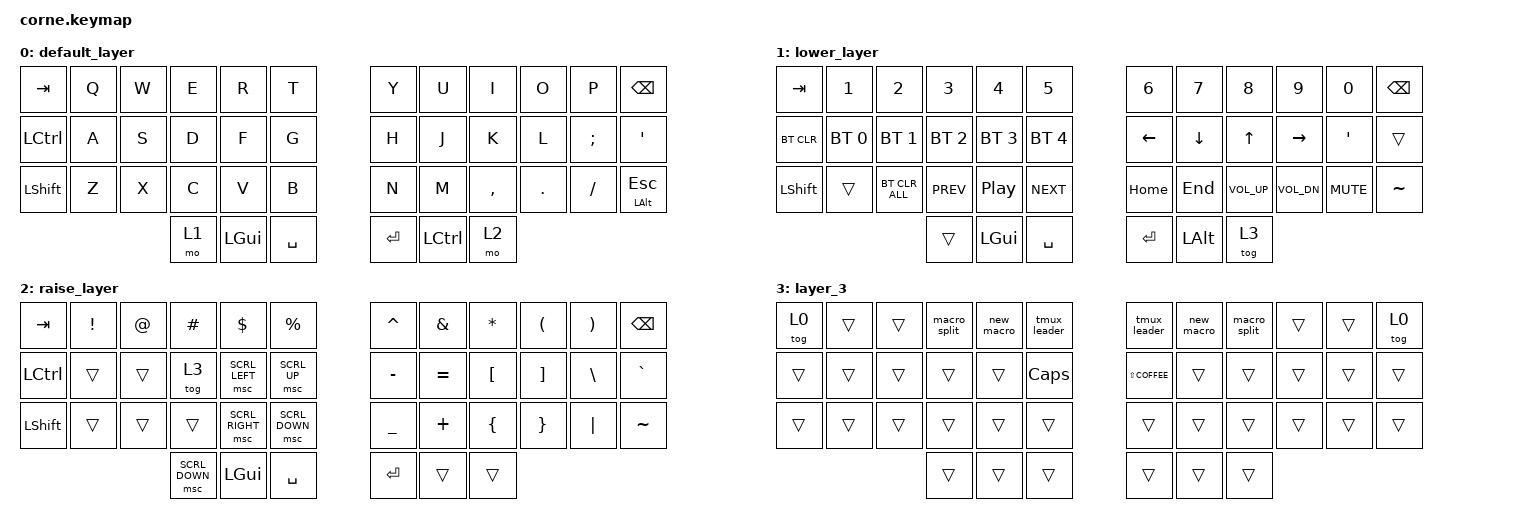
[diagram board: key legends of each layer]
/*
 * Copyright (c) 2020 The ZMK Contributors
 *
 * SPDX-License-Identifier: MIT
 */

#include <behaviors.dtsi>
#include <dt-bindings/zmk/bt.h>
#include <dt-bindings/zmk/keys.h>
#include <dt-bindings/zmk/pointing.h>

/ {
    macros {
        tmux_leader: tmux_new {
            compatible = "zmk,behavior-macro";
            #binding-cells = <0>;
            bindings = <&kp RCTRL &kp Q>;
            label = "TMUX_NEW";
        };

        new_macro: new_macro {
            compatible = "zmk,behavior-macro";
            #binding-cells = <0>;
            bindings = <&kp RCTRL &kp Q &kp C>;
            label = "NEW_MACRO";
        };

        macro_split: macro_split {
            compatible = "zmk,behavior-macro";
            #binding-cells = <0>;
            bindings = <&kp RCTRL &kp Q &kp PERCENT>;
            label = "MACRO_SPLIT";
        };
    };

    keymap {
        compatible = "zmk,keymap";

        default_layer {
            // -----------------------------------------------------------------------------------------
            // |  TAB |  Q  |  W  |  E  |  R  |  T  |   |  Y  |  U   |  I  |  O  |  P  | BSPC |
            // | CTRL |  A  |  S  |  D  |  F  |  G  |   |  H  |  J   |  K  |  L  |  ;  |  '   |
            // | SHFT |  Z  |  X  |  C  |  V  |  B  |   |  N  |  M   |  ,  |  .  |  /  | ESC  |
            //                    | GUI | LWR | SPC |   | ENT | RSE  | ALT |

            bindings = <
&kp TAB    &kp Q  &kp W  &kp E  &kp R         &kp T        &kp Y    &kp U      &kp I      &kp O    &kp P     &kp BSPC
&kp LCTRL  &kp A  &kp S  &kp D  &kp F         &kp G        &kp H    &kp J      &kp K      &kp L    &kp SEMI  &kp SQT
&kp LSHFT  &kp Z  &kp X  &kp C  &kp V         &kp B        &kp N    &kp M      &kp COMMA  &kp DOT  &kp FSLH  &mt LEFT_ALT ESCAPE
                         &mo 1  &kp LEFT_GUI  &kp SPACE    &kp RET  &kp LCTRL  &mo 2
            >;
        };

        lower_layer {
            // -----------------------------------------------------------------------------------------
            // |  TAB |  1  |  2  |  3  |  4  |  5  |   |  6  |  7  |  8  |  9  |  0  | BSPC |
            // | BTCLR| BT1 | BT2 | BT3 | BT4 | BT5 |   | LFT | DWN |  UP | RGT |     |      |
            // | SHFT |     |     |     |     |     |   |     |     |     |     |     |      |
            //                    | GUI |     | SPC |   | ENT |     | ALT |

            bindings = <
&kp TAB     &kp N1        &kp N2          &kp N3        &kp NUMBER_4      &kp N5          &kp N6    &kp N7        &kp N8           &kp N9        &kp N0            &kp BSPC
&bt BT_CLR  &bt BT_SEL 0  &bt BT_SEL 1    &bt BT_SEL 2  &bt BT_SEL 3      &bt BT_SEL 4    &kp LEFT  &kp DOWN      &kp UP           &kp RIGHT     &kp SINGLE_QUOTE  &trans
&kp LSHFT   &trans        &bt BT_CLR_ALL  &kp C_PREV    &kp C_PLAY_PAUSE  &kp C_NEXT      &kp HOME  &kp END       &kp C_VOLUME_UP  &kp C_VOL_DN  &kp C_MUTE        &kp TILDE
                                          &trans        &kp LEFT_GUI      &kp SPACE       &kp RET   &kp LEFT_ALT  &tog 3
            >;
        };

        raise_layer {
            // -----------------------------------------------------------------------------------------
            // |  TAB |  !  |  @  |  #  |  $  |  %  |   |  ^  |  &  |  *  |  (  |  )  | BSPC |
            // | CTRL |     |     |     |     |     |   |  -  |  =  |  [  |  ]  |  \  |  `   |
            // | SHFT |     |     |     |     |     |   |  _  |  +  |  {  |  }  | "|" |  ~   |
            //                    | GUI |     | SPC |   | ENT |     | ALT |

            bindings = <
&kp TAB    &kp EXCL  &kp AT  &kp HASH        &kp DLLR         &kp PRCNT         &kp CARET  &kp AMPS   &kp ASTRK  &kp LPAR  &kp RPAR  &kp BSPC
&kp LCTRL  &trans    &trans  &tog 3          &msc SCRL_LEFT   &msc SCRL_UP      &kp MINUS  &kp EQUAL  &kp LBKT   &kp RBKT  &kp BSLH  &kp GRAVE
&kp LSHFT  &trans    &trans  &trans          &msc SCRL_RIGHT  &msc SCRL_DOWN    &kp UNDER  &kp PLUS   &kp LBRC   &kp RBRC  &kp PIPE  &kp TILDE
                             &msc SCRL_DOWN  &kp LEFT_GUI     &kp SPACE         &kp RET    &trans     &trans
            >;
        };

        layer_3 {
            bindings = <
&tog 0  &trans  &trans  &macro_split  &new_macro  &tmux_leader    &tmux_leader      &new_macro  &macro_split  &trans  &trans  &tog 0
&trans  &trans  &trans  &trans        &trans      &kp CAPSLOCK    &kp LS(K_COFFEE)  &trans      &trans        &trans  &trans  &trans
&trans  &trans  &trans  &trans        &trans      &trans          &trans            &trans      &trans        &trans  &trans  &trans
                        &trans        &trans      &trans          &trans            &trans      &trans
            >;
        };
    };

    conditional_layers {
        compatible = "zmk,conditional-layers";

        layar3 {
            if-layers = <1 2>;
            then-layer = <3>;
        };
    };
};
